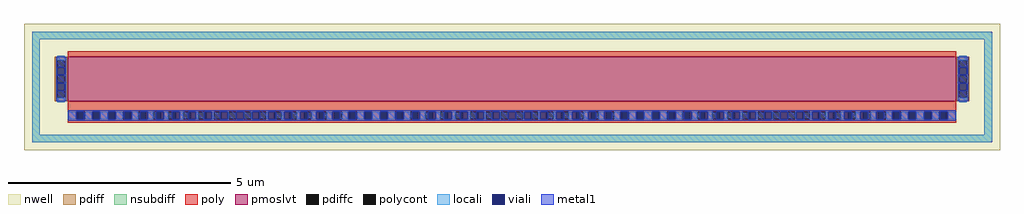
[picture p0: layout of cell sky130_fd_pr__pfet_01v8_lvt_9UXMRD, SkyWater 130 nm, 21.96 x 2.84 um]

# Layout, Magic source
magic
tech sky130A
magscale 1 2
<< nwell >>
rect -2196 -284 2196 284
<< pmoslvt >>
rect -2000 -64 2000 136
<< pdiff >>
rect -2058 121 -2000 136
rect -2058 87 -2046 121
rect -2012 87 -2000 121
rect -2058 53 -2000 87
rect -2058 19 -2046 53
rect -2012 19 -2000 53
rect -2058 -15 -2000 19
rect -2058 -49 -2046 -15
rect -2012 -49 -2000 -15
rect -2058 -64 -2000 -49
rect 2000 121 2058 136
rect 2000 87 2012 121
rect 2046 87 2058 121
rect 2000 53 2058 87
rect 2000 19 2012 53
rect 2046 19 2058 53
rect 2000 -15 2058 19
rect 2000 -49 2012 -15
rect 2046 -49 2058 -15
rect 2000 -64 2058 -49
<< pdiffc >>
rect -2046 87 -2012 121
rect -2046 19 -2012 53
rect -2046 -49 -2012 -15
rect 2012 87 2046 121
rect 2012 19 2046 53
rect 2012 -49 2046 -15
<< nsubdiff >>
rect -2160 214 2160 248
rect -2160 -214 -2126 214
rect 2126 -214 2160 214
rect -2160 -248 2160 -214
<< poly >>
rect -2000 136 2000 162
rect -2000 -111 2000 -64
rect -2000 -145 -1955 -111
rect -1921 -145 -1887 -111
rect -1853 -145 -1819 -111
rect -1785 -145 -1751 -111
rect -1717 -145 -1683 -111
rect -1649 -145 -1615 -111
rect -1581 -145 -1547 -111
rect -1513 -145 -1479 -111
rect -1445 -145 -1411 -111
rect -1377 -145 -1343 -111
rect -1309 -145 -1275 -111
rect -1241 -145 -1207 -111
rect -1173 -145 -1139 -111
rect -1105 -145 -1071 -111
rect -1037 -145 -1003 -111
rect -969 -145 -935 -111
rect -901 -145 -867 -111
rect -833 -145 -799 -111
rect -765 -145 -731 -111
rect -697 -145 -663 -111
rect -629 -145 -595 -111
rect -561 -145 -527 -111
rect -493 -145 -459 -111
rect -425 -145 -391 -111
rect -357 -145 -323 -111
rect -289 -145 -255 -111
rect -221 -145 -187 -111
rect -153 -145 -119 -111
rect -85 -145 -51 -111
rect -17 -145 17 -111
rect 51 -145 85 -111
rect 119 -145 153 -111
rect 187 -145 221 -111
rect 255 -145 289 -111
rect 323 -145 357 -111
rect 391 -145 425 -111
rect 459 -145 493 -111
rect 527 -145 561 -111
rect 595 -145 629 -111
rect 663 -145 697 -111
rect 731 -145 765 -111
rect 799 -145 833 -111
rect 867 -145 901 -111
rect 935 -145 969 -111
rect 1003 -145 1037 -111
rect 1071 -145 1105 -111
rect 1139 -145 1173 -111
rect 1207 -145 1241 -111
rect 1275 -145 1309 -111
rect 1343 -145 1377 -111
rect 1411 -145 1445 -111
rect 1479 -145 1513 -111
rect 1547 -145 1581 -111
rect 1615 -145 1649 -111
rect 1683 -145 1717 -111
rect 1751 -145 1785 -111
rect 1819 -145 1853 -111
rect 1887 -145 1921 -111
rect 1955 -145 2000 -111
rect -2000 -161 2000 -145
<< polycont >>
rect -1955 -145 -1921 -111
rect -1887 -145 -1853 -111
rect -1819 -145 -1785 -111
rect -1751 -145 -1717 -111
rect -1683 -145 -1649 -111
rect -1615 -145 -1581 -111
rect -1547 -145 -1513 -111
rect -1479 -145 -1445 -111
rect -1411 -145 -1377 -111
rect -1343 -145 -1309 -111
rect -1275 -145 -1241 -111
rect -1207 -145 -1173 -111
rect -1139 -145 -1105 -111
rect -1071 -145 -1037 -111
rect -1003 -145 -969 -111
rect -935 -145 -901 -111
rect -867 -145 -833 -111
rect -799 -145 -765 -111
rect -731 -145 -697 -111
rect -663 -145 -629 -111
rect -595 -145 -561 -111
rect -527 -145 -493 -111
rect -459 -145 -425 -111
rect -391 -145 -357 -111
rect -323 -145 -289 -111
rect -255 -145 -221 -111
rect -187 -145 -153 -111
rect -119 -145 -85 -111
rect -51 -145 -17 -111
rect 17 -145 51 -111
rect 85 -145 119 -111
rect 153 -145 187 -111
rect 221 -145 255 -111
rect 289 -145 323 -111
rect 357 -145 391 -111
rect 425 -145 459 -111
rect 493 -145 527 -111
rect 561 -145 595 -111
rect 629 -145 663 -111
rect 697 -145 731 -111
rect 765 -145 799 -111
rect 833 -145 867 -111
rect 901 -145 935 -111
rect 969 -145 1003 -111
rect 1037 -145 1071 -111
rect 1105 -145 1139 -111
rect 1173 -145 1207 -111
rect 1241 -145 1275 -111
rect 1309 -145 1343 -111
rect 1377 -145 1411 -111
rect 1445 -145 1479 -111
rect 1513 -145 1547 -111
rect 1581 -145 1615 -111
rect 1649 -145 1683 -111
rect 1717 -145 1751 -111
rect 1785 -145 1819 -111
rect 1853 -145 1887 -111
rect 1921 -145 1955 -111
<< locali >>
rect -2160 214 2160 248
rect -2160 -214 -2126 214
rect -2046 121 -2012 140
rect -2046 53 -2012 55
rect -2046 17 -2012 19
rect -2046 -68 -2012 -49
rect 2012 121 2046 140
rect 2012 53 2046 55
rect 2012 17 2046 19
rect 2012 -68 2046 -49
rect -2000 -145 -1961 -111
rect -1921 -145 -1889 -111
rect -1853 -145 -1819 -111
rect -1783 -145 -1751 -111
rect -1711 -145 -1683 -111
rect -1639 -145 -1615 -111
rect -1567 -145 -1547 -111
rect -1495 -145 -1479 -111
rect -1423 -145 -1411 -111
rect -1351 -145 -1343 -111
rect -1279 -145 -1275 -111
rect -1173 -145 -1169 -111
rect -1105 -145 -1097 -111
rect -1037 -145 -1025 -111
rect -969 -145 -953 -111
rect -901 -145 -881 -111
rect -833 -145 -809 -111
rect -765 -145 -737 -111
rect -697 -145 -665 -111
rect -629 -145 -595 -111
rect -559 -145 -527 -111
rect -487 -145 -459 -111
rect -415 -145 -391 -111
rect -343 -145 -323 -111
rect -271 -145 -255 -111
rect -199 -145 -187 -111
rect -127 -145 -119 -111
rect -55 -145 -51 -111
rect 51 -145 55 -111
rect 119 -145 127 -111
rect 187 -145 199 -111
rect 255 -145 271 -111
rect 323 -145 343 -111
rect 391 -145 415 -111
rect 459 -145 487 -111
rect 527 -145 559 -111
rect 595 -145 629 -111
rect 665 -145 697 -111
rect 737 -145 765 -111
rect 809 -145 833 -111
rect 881 -145 901 -111
rect 953 -145 969 -111
rect 1025 -145 1037 -111
rect 1097 -145 1105 -111
rect 1169 -145 1173 -111
rect 1275 -145 1279 -111
rect 1343 -145 1351 -111
rect 1411 -145 1423 -111
rect 1479 -145 1495 -111
rect 1547 -145 1567 -111
rect 1615 -145 1639 -111
rect 1683 -145 1711 -111
rect 1751 -145 1783 -111
rect 1819 -145 1853 -111
rect 1889 -145 1921 -111
rect 1961 -145 2000 -111
rect 2126 -214 2160 214
rect -2160 -248 2160 -214
<< viali >>
rect -2046 87 -2012 89
rect -2046 55 -2012 87
rect -2046 -15 -2012 17
rect -2046 -17 -2012 -15
rect 2012 87 2046 89
rect 2012 55 2046 87
rect 2012 -15 2046 17
rect 2012 -17 2046 -15
rect -1961 -145 -1955 -111
rect -1955 -145 -1927 -111
rect -1889 -145 -1887 -111
rect -1887 -145 -1855 -111
rect -1817 -145 -1785 -111
rect -1785 -145 -1783 -111
rect -1745 -145 -1717 -111
rect -1717 -145 -1711 -111
rect -1673 -145 -1649 -111
rect -1649 -145 -1639 -111
rect -1601 -145 -1581 -111
rect -1581 -145 -1567 -111
rect -1529 -145 -1513 -111
rect -1513 -145 -1495 -111
rect -1457 -145 -1445 -111
rect -1445 -145 -1423 -111
rect -1385 -145 -1377 -111
rect -1377 -145 -1351 -111
rect -1313 -145 -1309 -111
rect -1309 -145 -1279 -111
rect -1241 -145 -1207 -111
rect -1169 -145 -1139 -111
rect -1139 -145 -1135 -111
rect -1097 -145 -1071 -111
rect -1071 -145 -1063 -111
rect -1025 -145 -1003 -111
rect -1003 -145 -991 -111
rect -953 -145 -935 -111
rect -935 -145 -919 -111
rect -881 -145 -867 -111
rect -867 -145 -847 -111
rect -809 -145 -799 -111
rect -799 -145 -775 -111
rect -737 -145 -731 -111
rect -731 -145 -703 -111
rect -665 -145 -663 -111
rect -663 -145 -631 -111
rect -593 -145 -561 -111
rect -561 -145 -559 -111
rect -521 -145 -493 -111
rect -493 -145 -487 -111
rect -449 -145 -425 -111
rect -425 -145 -415 -111
rect -377 -145 -357 -111
rect -357 -145 -343 -111
rect -305 -145 -289 -111
rect -289 -145 -271 -111
rect -233 -145 -221 -111
rect -221 -145 -199 -111
rect -161 -145 -153 -111
rect -153 -145 -127 -111
rect -89 -145 -85 -111
rect -85 -145 -55 -111
rect -17 -145 17 -111
rect 55 -145 85 -111
rect 85 -145 89 -111
rect 127 -145 153 -111
rect 153 -145 161 -111
rect 199 -145 221 -111
rect 221 -145 233 -111
rect 271 -145 289 -111
rect 289 -145 305 -111
rect 343 -145 357 -111
rect 357 -145 377 -111
rect 415 -145 425 -111
rect 425 -145 449 -111
rect 487 -145 493 -111
rect 493 -145 521 -111
rect 559 -145 561 -111
rect 561 -145 593 -111
rect 631 -145 663 -111
rect 663 -145 665 -111
rect 703 -145 731 -111
rect 731 -145 737 -111
rect 775 -145 799 -111
rect 799 -145 809 -111
rect 847 -145 867 -111
rect 867 -145 881 -111
rect 919 -145 935 -111
rect 935 -145 953 -111
rect 991 -145 1003 -111
rect 1003 -145 1025 -111
rect 1063 -145 1071 -111
rect 1071 -145 1097 -111
rect 1135 -145 1139 -111
rect 1139 -145 1169 -111
rect 1207 -145 1241 -111
rect 1279 -145 1309 -111
rect 1309 -145 1313 -111
rect 1351 -145 1377 -111
rect 1377 -145 1385 -111
rect 1423 -145 1445 -111
rect 1445 -145 1457 -111
rect 1495 -145 1513 -111
rect 1513 -145 1529 -111
rect 1567 -145 1581 -111
rect 1581 -145 1601 -111
rect 1639 -145 1649 -111
rect 1649 -145 1673 -111
rect 1711 -145 1717 -111
rect 1717 -145 1745 -111
rect 1783 -145 1785 -111
rect 1785 -145 1817 -111
rect 1855 -145 1887 -111
rect 1887 -145 1889 -111
rect 1927 -145 1955 -111
rect 1955 -145 1961 -111
<< metal1 >>
rect -2052 89 -2006 136
rect -2052 55 -2046 89
rect -2012 55 -2006 89
rect -2052 17 -2006 55
rect -2052 -17 -2046 17
rect -2012 -17 -2006 17
rect -2052 -64 -2006 -17
rect 2006 89 2052 136
rect 2006 55 2012 89
rect 2046 55 2052 89
rect 2006 17 2052 55
rect 2006 -17 2012 17
rect 2046 -17 2052 17
rect 2006 -64 2052 -17
rect -1996 -111 1996 -105
rect -1996 -145 -1961 -111
rect -1927 -145 -1889 -111
rect -1855 -145 -1817 -111
rect -1783 -145 -1745 -111
rect -1711 -145 -1673 -111
rect -1639 -145 -1601 -111
rect -1567 -145 -1529 -111
rect -1495 -145 -1457 -111
rect -1423 -145 -1385 -111
rect -1351 -145 -1313 -111
rect -1279 -145 -1241 -111
rect -1207 -145 -1169 -111
rect -1135 -145 -1097 -111
rect -1063 -145 -1025 -111
rect -991 -145 -953 -111
rect -919 -145 -881 -111
rect -847 -145 -809 -111
rect -775 -145 -737 -111
rect -703 -145 -665 -111
rect -631 -145 -593 -111
rect -559 -145 -521 -111
rect -487 -145 -449 -111
rect -415 -145 -377 -111
rect -343 -145 -305 -111
rect -271 -145 -233 -111
rect -199 -145 -161 -111
rect -127 -145 -89 -111
rect -55 -145 -17 -111
rect 17 -145 55 -111
rect 89 -145 127 -111
rect 161 -145 199 -111
rect 233 -145 271 -111
rect 305 -145 343 -111
rect 377 -145 415 -111
rect 449 -145 487 -111
rect 521 -145 559 -111
rect 593 -145 631 -111
rect 665 -145 703 -111
rect 737 -145 775 -111
rect 809 -145 847 -111
rect 881 -145 919 -111
rect 953 -145 991 -111
rect 1025 -145 1063 -111
rect 1097 -145 1135 -111
rect 1169 -145 1207 -111
rect 1241 -145 1279 -111
rect 1313 -145 1351 -111
rect 1385 -145 1423 -111
rect 1457 -145 1495 -111
rect 1529 -145 1567 -111
rect 1601 -145 1639 -111
rect 1673 -145 1711 -111
rect 1745 -145 1783 -111
rect 1817 -145 1855 -111
rect 1889 -145 1927 -111
rect 1961 -145 1996 -111
rect -1996 -151 1996 -145
<< properties >>
string FIXED_BBOX -2143 -231 2143 231
<< end >>
